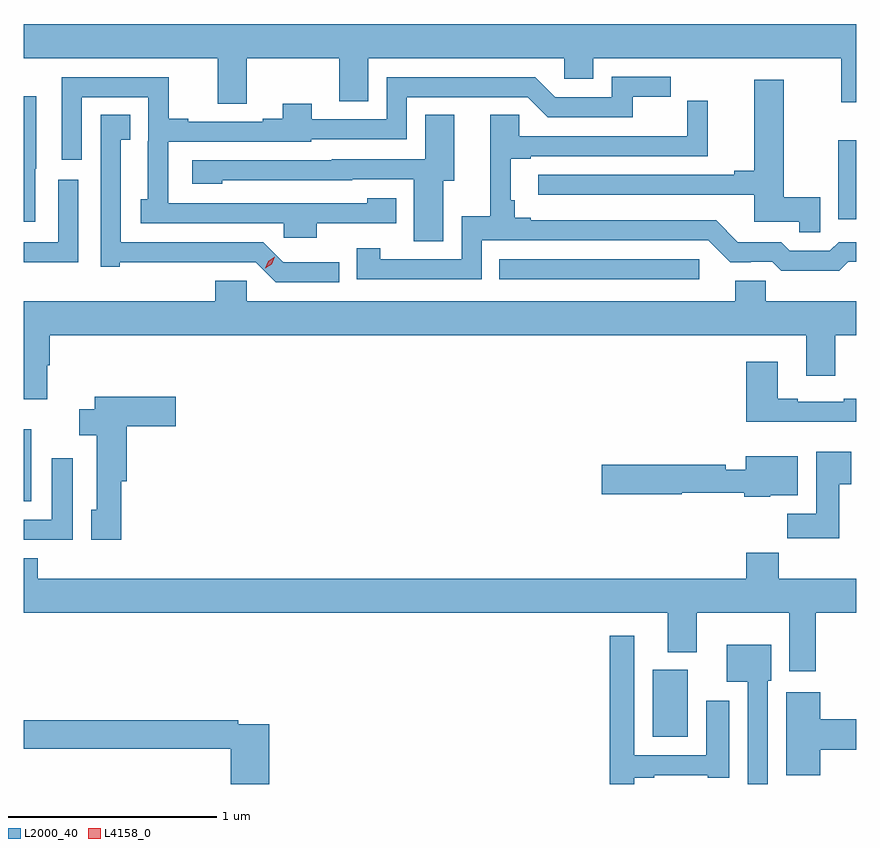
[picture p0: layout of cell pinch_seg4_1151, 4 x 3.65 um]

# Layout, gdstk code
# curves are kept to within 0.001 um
import gdstk
lib = gdstk.Library(unit=1e-6, precision=1e-09)
def R(c, l, rs):  # rectangles x0, y0, x1, y1
    for r in rs: c.add(gdstk.rectangle(r[:2], r[2:], *l))
def P(c, l, *ps):  # polygons
    for p in ps: c.add(gdstk.Polygon(p, *l))
L2000_40 = (2000, 40)
L4158_0 = (4158, 0)

pinch_seg4_1151 = lib.new_cell('pinch_seg4_1151')
R(pinch_seg4_1151, L2000_40, [(480.599,786.902,480.769,787.222), (477.578,788.033,477.616,788.377), (479.863,789.099,480.823,789.195), (481.49,789.386,481.578,789.766)])
P(pinch_seg4_1151, L2000_40, [(478.651,790.16),(479.093,790.16),(479.093,789.952),(479.233,789.952),(479.233,790.16),(480.174,790.16),(480.174,790.062),(480.313,790.062),(480.313,790.16),(481.505,790.16),(481.505,789.948),(481.578,789.948),(481.578,790.324),(477.578,790.324),(477.578,790.16),(478.511,790.16),(478.511,789.94),(478.651,789.94)],
  [(478.986,789.366),(479.368,789.366),(479.368,789.487),(479.229,789.487),(479.229,789.462),(478.272,789.462),(478.272,789.759),(478.959,789.759),(478.959,789.771),(479.418,789.771),(479.418,789.972),(480,789.972),(480.096,789.876),(480.503,789.876),(480.503,789.974),(480.686,789.974),(480.686,790.071),(480.402,790.071),(480.402,789.972),(480.132,789.972),(480.036,790.068),(479.322,790.068),(479.322,789.867),(478.963,789.867),(478.963,789.94),(478.823,789.94),(478.823,789.868),(478.727,789.868),(478.727,789.855),(478.369,789.855),(478.369,789.868),(478.275,789.868),(478.275,790.068),(477.762,790.068),(477.762,789.672),(477.858,789.672),(477.858,789.972),(478.176,789.972),(478.175,789.482),(478.142,789.482),(478.142,789.366),(478.827,789.366),(478.827,789.297),(478.986,789.297)],
  [(481.405,789.491),(481.228,789.491),(481.228,790.057),(481.088,790.057),(481.088,789.62),(480.992,789.62),(480.992,789.6),(480.051,789.6),(480.051,789.504),(481.088,789.504),(481.088,789.375),(481.303,789.375),(481.303,789.324),(481.405,789.324)],
  [(477.634,789.63),(477.64,789.63),(477.64,789.976),(477.578,789.976),(477.578,789.375),(477.634,789.375)],
  [(479.778,789.285),(480.867,789.285),(480.972,789.18),(481.071,789.18),(481.071,789.183),(481.173,789.183),(481.217,789.14),(481.496,789.14),(481.539,789.183),(481.578,789.183),(481.578,789.277),(481.492,789.277),(481.449,789.234),(481.258,789.234),(481.216,789.276),(481.009,789.276),(480.904,789.381),(480.013,789.381),(480.013,789.394),(479.936,789.394),(479.936,789.478),(479.917,789.478),(479.917,789.678),(480.013,789.678),(480.013,789.69),(480.864,789.69),(480.864,789.956),(480.765,789.956),(480.765,789.786),(479.958,789.786),(479.958,789.887),(479.819,789.887),(479.819,789.401),(479.682,789.401),(479.682,789.195),(479.29,789.195),(479.29,789.247),(479.179,789.247),(479.179,789.099),(479.778,789.099)],
  [(479.094,789.18),(478.824,789.18),(478.728,789.276),(478.044,789.276),(478.045,789.769),(478.091,789.769),(478.091,789.887),(477.948,789.887),(477.948,789.158),(478.041,789.158),(478.041,789.179),(478.692,789.18),(478.788,789.084),(479.094,789.084)],
  [(479.593,789.572),(479.647,789.572),(479.647,789.887),(479.507,789.887),(479.507,789.675),(479.058,789.675),(479.058,789.669),(478.389,789.669),(478.389,789.557),(478.533,789.557),(478.533,789.573),(479.157,789.573),(479.157,789.579),(479.453,789.579),(479.453,789.28),(479.593,789.28)],
  [(477.84,789.577),(477.744,789.577),(477.744,789.276),(477.578,789.276),(477.578,789.18),(477.595,789.18),(477.595,789.179),(477.84,789.179)],
  [(477.691,788.684),(477.704,788.684),(477.704,788.828),(481.337,788.828),(481.337,788.634),(481.477,788.634),(481.477,788.828),(481.578,788.828),(481.578,788.992),(481.142,788.992),(481.142,789.09),(480.995,789.09),(480.995,788.992),(478.65,788.992),(478.65,789.09),(478.499,789.09),(478.499,788.992),(477.578,788.992),(477.578,788.523),(477.691,788.523)],
  [(481.578,788.524),(481.517,788.524),(481.517,788.511),(481.297,788.511),(481.297,788.524),(481.201,788.524),(481.201,788.701),(481.049,788.701),(481.049,788.414),(481.578,788.414)],
  [(478.046,788.129),(478.073,788.129),(478.073,788.393),(478.309,788.393),(478.309,788.535),(477.92,788.535),(477.92,788.474),(477.845,788.474),(477.845,788.35),(477.93,788.35),(477.93,787.992),(477.902,787.992),(477.902,787.848),(478.046,787.848)],
  [(481.495,788.113),(481.552,788.113),(481.552,788.269),(481.385,788.269),(481.385,787.972),(481.246,787.972),(481.246,787.854),(481.495,787.854)],
  [(481.164,788.06),(481.297,788.06),(481.297,788.248),(481.046,788.248),(481.046,788.184),(480.95,788.184),(480.95,788.207),(480.354,788.207),(480.354,788.065),(480.738,788.065),(480.738,788.073),(481.039,788.073),(481.039,788.054),(481.164,788.054)],
  [(477.814,788.239),(477.713,788.239),(477.713,787.944),(477.578,787.944),(477.578,787.848),(477.814,787.848)],
  [(481.382,787.496),(481.578,787.496),(481.578,787.66),(481.205,787.66),(481.205,787.784),(481.049,787.784),(481.049,787.66),(477.647,787.66),(477.647,787.759),(477.578,787.759),(477.578,787.496),(480.671,787.496),(480.671,787.307),(480.811,787.307),(480.811,787.496),(481.256,787.496),(481.256,787.215),(481.382,787.215)],
  [(480.511,786.705),(480.607,786.705),(480.607,786.717),(480.863,786.717),(480.863,786.705),(480.967,786.705),(480.967,787.075),(480.857,787.075),(480.857,786.813),(480.51,786.813),(480.51,787.387),(480.394,787.387),(480.394,786.674),(480.511,786.674)],
  [(481.152,787.17),(481.168,787.17),(481.168,787.342),(480.956,787.342),(480.956,787.166),(481.056,787.166),(481.056,786.674),(481.152,786.674)],
  [(481.403,786.839),(481.578,786.839),(481.578,786.986),(481.403,786.986),(481.403,787.114),(481.241,787.114),(481.241,786.715),(481.403,786.715)],
  [(478.757,786.96),(478.61,786.96),(478.61,786.98),(477.578,786.98),(477.578,786.844),(478.574,786.844),(478.574,786.674),(478.757,786.674)])
P(pinch_seg4_1151, L4158_0, [(478.738,789.15),(478.738,789.15),(478.754,789.184),(478.785,789.205),(478.785,789.205),(478.785,789.205),(478.769,789.171),(478.738,789.15)])

lib.write_gds('pinch_seg4_1151.gds')
